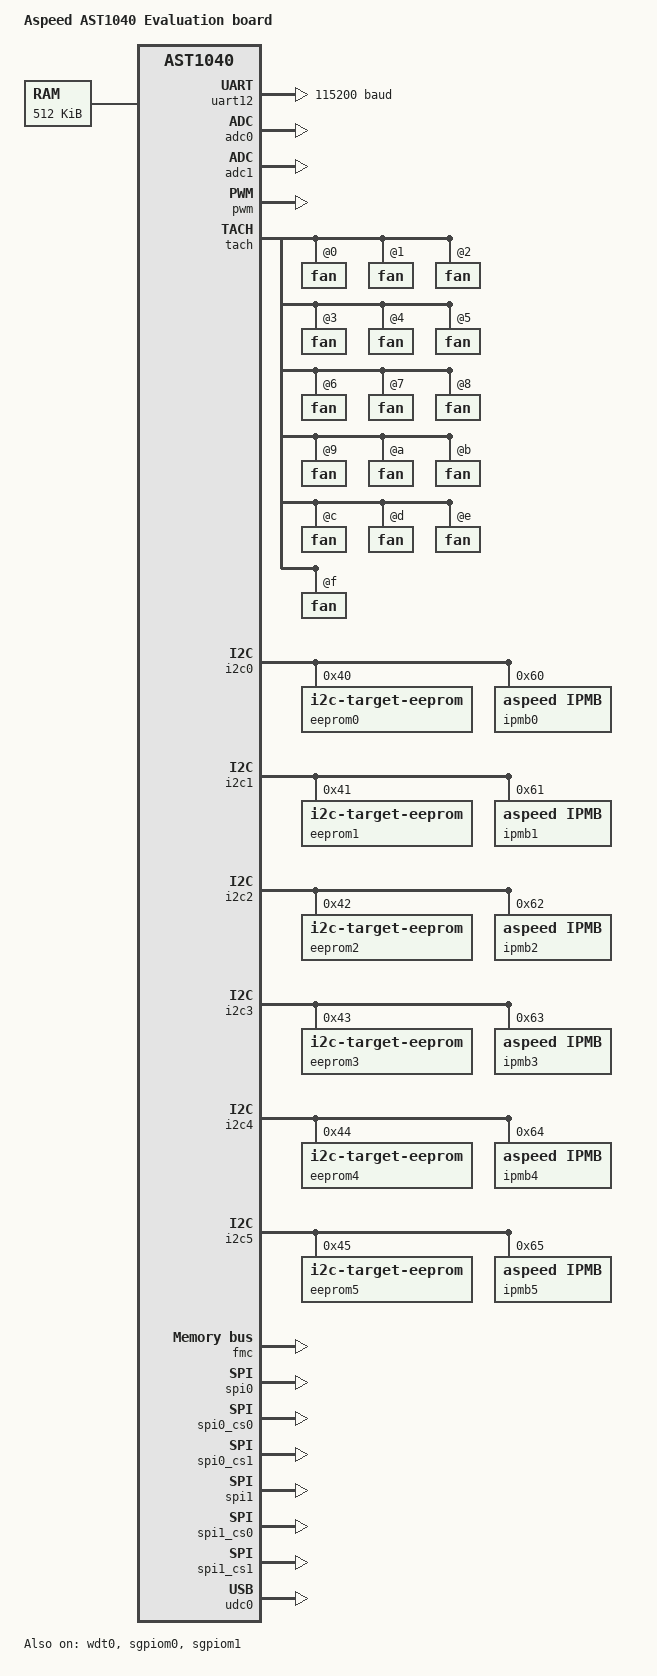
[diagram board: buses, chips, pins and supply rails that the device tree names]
/*
 * Copyright (c) 2024 Aspeed Technology Inc.
 *
 * SPDX-License-Identifier: Apache-2.0
 */

/dts-v1/;
#include <arm/aspeed/ast1040.dtsi>

/ {
	model = "Aspeed AST1040 Evaluation board";
	compatible = "aspeed,ast1040-evb";

	chosen {
		zephyr,console = &uart12;
		zephyr,shell-uart = &uart12;
		zephyr,flash = &dram_ro_region;
		zephyr,sram = &dram_rw_region;
	};

	dram_rw_region: memory@40000 {
		device_type = "memory";
		reg = <0x40000 DT_SIZE_K(14336 - 256 - 512)>;
	};

	sram1: memory@d80000 {
		compatible = "zephyr,memory-region", "mmio-sram";
		device_type = "memory";
		reg = <0xd80000 DT_SIZE_K(512)>;
		zephyr,memory-region = "RAM_NC";
	};
};

&wdt0 {
	status = "okay";
};

&uart12 {
	clock-frequency = <1846153>;
	current-speed = <115200>;
	status = "okay";
};

&dram_ro_region {
	reg = <0x0 DT_SIZE_K(256)>;
};

&nvic {
	arm,num-irq-priority-bits = <3>;
};

&adc0 {
	status = "okay";

	pinctrl-names = "default";
	pinctrl-0 = <pinctrl_adc0_default pinctrl_adc1_default
		pinctrl_adc2_default pinctrl_adc3_default
		pinctrl_adc4_default pinctrl_adc5_default
		pinctrl_adc6_default pinctrl_adc7_default>;
};

&adc1 {
	status = "okay";

	pinctrl-names = "default";
	pinctrl-0 = <pinctrl_adc8_default pinctrl_adc9_default
		pinctrl_adc10_default pinctrl_adc11_default
		pinctrl_adc12_default pinctrl_adc13_default
		pinctrl_adc14_default pinctrl_adc15_default>;
};

&pwm {
	status = "okay";

	pinctrl-names = "default";
	pinctrl-0 = <pinctrl_pwm0_default pinctrl_pwm1_default
			pinctrl_pwm2_default pinctrl_pwm3_default
			pinctrl_pwm4_default pinctrl_pwm5_default
			pinctrl_pwm6_default pinctrl_pwm7_default
			pinctrl_pwm8_default pinctrl_pwm9_default
			pinctrl_pwm10_default pinctrl_pwm11_default
			pinctrl_pwm12_default pinctrl_pwm13_default
			pinctrl_pwm14_default pinctrl_pwm15_default>;

};

&tach {
	status = "okay";

	pinctrl-names = "default";
	pinctrl-0 = <pinctrl_tach0_default pinctrl_tach1_default
			pinctrl_tach2_default pinctrl_tach3_default
			pinctrl_tach4_default pinctrl_tach5_default
			pinctrl_tach6_default pinctrl_tach7_default
			pinctrl_tach8_default pinctrl_tach9_default
			pinctrl_tach10_default pinctrl_tach11_default
			pinctrl_tach12_default pinctrl_tach13_default
			pinctrl_tach14_default pinctrl_tach15_default>;

	fan@0 {
		reg = <0>;
		pulse-pr = <2>;
		min-rpm = <1000>;
		tach-div = <5>;
	};

	fan@1 {
		reg = <1>;
		pulse-pr = <2>;
		min-rpm = <1000>;
		tach-div = <5>;
	};

	fan@2 {
		reg = <2>;
		pulse-pr = <2>;
		min-rpm = <1000>;
		tach-div = <5>;
	};

	fan@3 {
		reg = <3>;
		pulse-pr = <2>;
		min-rpm = <1000>;
		tach-div = <5>;
	};

	fan@4 {
		reg = <4>;
		pulse-pr = <2>;
		min-rpm = <1000>;
		tach-div = <5>;
	};

	fan@5 {
		reg = <5>;
		pulse-pr = <2>;
		min-rpm = <1000>;
		tach-div = <5>;
	};

	fan@6 {
		reg = <6>;
		pulse-pr = <2>;
		min-rpm = <1000>;
		tach-div = <5>;
	};

	fan@7 {
		reg = <7>;
		pulse-pr = <2>;
		min-rpm = <1000>;
		tach-div = <5>;
	};

	fan@8 {
		reg = <8>;
		pulse-pr = <2>;
		min-rpm = <1000>;
		tach-div = <5>;
	};

	fan@9 {
		reg = <9>;
		pulse-pr = <2>;
		min-rpm = <1000>;
		tach-div = <5>;
	};

	fan@a {
		reg = <0xa>;
		pulse-pr = <2>;
		min-rpm = <1000>;
		tach-div = <5>;
	};

	fan@b {
		reg = <0xb>;
		pulse-pr = <2>;
		min-rpm = <1000>;
		tach-div = <5>;
	};

	fan@c {
		reg = <0xc>;
		pulse-pr = <2>;
		min-rpm = <1000>;
		tach-div = <5>;
	};

	fan@d {
		reg = <0xd>;
		pulse-pr = <2>;
		min-rpm = <1000>;
		tach-div = <5>;
	};

	fan@e {
		reg = <0xe>;
		pulse-pr = <2>;
		min-rpm = <1000>;
		tach-div = <5>;
	};

	fan@f {
		reg = <0xf>;
		pulse-pr = <2>;
		min-rpm = <1000>;
		tach-div = <5>;
	};
};

&i2c0 {
	status = "okay";

	eeprom0: eeprom@40 {
		compatible = "zephyr,i2c-target-eeprom";
		reg = <0x40>;
		size = <256>;
	};

	ipmb0: ipmb@60 {
		compatible = "aspeed,ipmb";
		reg = <0x60>;
		size = <5>;
	};
};

&i2c1 {
	status = "okay";

	eeprom1: eeprom@41 {
		compatible = "zephyr,i2c-target-eeprom";
		reg = <0x41>;
		size = <256>;
	};

	ipmb1: ipmb@61 {
		compatible = "aspeed,ipmb";
		reg = <0x61>;
		size = <5>;
	};
};

&i2c2 {
	status = "okay";

	eeprom2: eeprom@42 {
		compatible = "zephyr,i2c-target-eeprom";
		reg = <0x42>;
		size = <256>;
	};

	ipmb2: ipmb@62 {
		compatible = "aspeed,ipmb";
		reg = <0x62>;
		size = <5>;
	};
};

&i2c3 {
	status = "okay";

	eeprom3: eeprom@43 {
		compatible = "zephyr,i2c-target-eeprom";
		reg = <0x43>;
		size = <256>;
	};

	ipmb3: ipmb@63 {
		compatible = "aspeed,ipmb";
		reg = <0x63>;
		size = <5>;
	};
};

&i2c4 {
	status = "okay";

	eeprom4: eeprom@44 {
		compatible = "zephyr,i2c-target-eeprom";
		reg = <0x44>;
		size = <256>;
	};

	ipmb4: ipmb@64 {
		compatible = "aspeed,ipmb";
		reg = <0x64>;
		size = <5>;
	};
};

&i2c5 {
	status = "okay";

	eeprom5: eeprom@45 {
		compatible = "zephyr,i2c-target-eeprom";
		reg = <0x45>;
		size = <256>;
	};

	ipmb5: ipmb@65 {
		compatible = "aspeed,ipmb";
		reg = <0x65>;
		size = <5>;
	};
};

&gpio0 {
	status = "okay";
};

&sgpiom0 {
	status = "okay";
	sgpiom0_0_31 {
		status = "okay";
	};
	sgpiom0_32_63 {
		status = "okay";
	};
	sgpiom0_64_95 {
		status = "okay";
	};
	sgpiom0_96_127 {
		status = "okay";
	};
	sgpiom0_128_159 {
		status = "okay";
	};
	sgpiom0_160_191 {
		status = "okay";
	};
	sgpiom0_192_223 {
		status = "okay";
	};
	sgpiom0_224_255 {
		status = "okay";
	};
};

&sgpiom1 {
	status = "okay";
	sgpiom1_0_31 {
		status = "okay";
	};
	sgpiom1_32_63 {
		status = "okay";
	};
	sgpiom1_64_95 {
		status = "okay";
	};
	sgpiom1_96_127 {
		status = "okay";
	};
	sgpiom1_128_159 {
		status = "okay";
	};
	sgpiom1_160_191 {
		status = "okay";
	};
	sgpiom1_192_223 {
		status = "okay";
	};
	sgpiom1_224_255 {
		status = "okay";
	};
};

&fmc {
	status = "okay";
};

&spi0 {
	status = "okay";
};

&spi0_cs0 {
	status = "okay";
};

&spi0_cs1 {
	status = "okay";
};

&spi1 {
	status = "okay";
};

&spi1_cs0 {
	status = "okay";
};

&spi1_cs1 {
	status = "okay";
};

#if 1
zephyr_udc0: &udc0 {
	status = "okay";
};
#endif

#if 0
zephyr_udc0: &udc1 {
	status = "okay";
};
#endif
